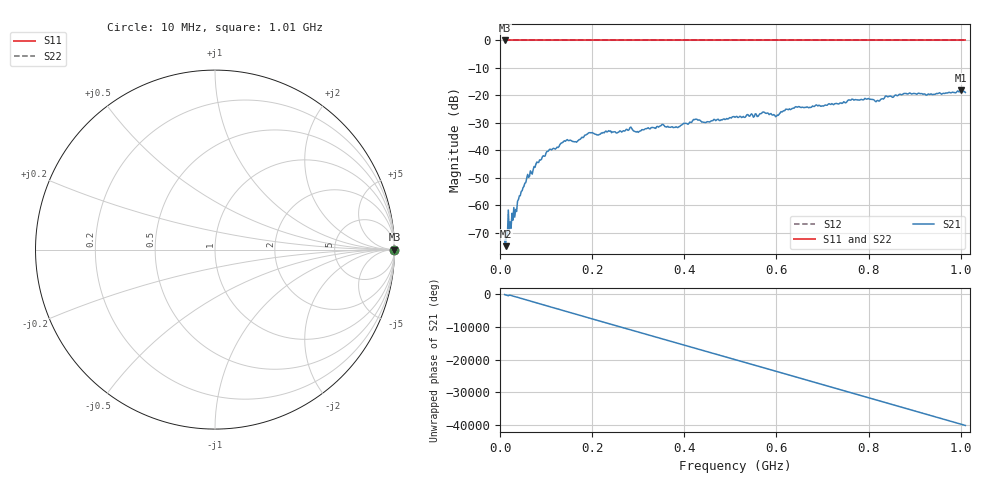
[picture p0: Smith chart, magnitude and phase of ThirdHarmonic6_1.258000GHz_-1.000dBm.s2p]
! 8/16/2025 1:30:37 PM
! C:\ANRITSUVNA\TEMP\TEMP.S2P
! CHANNEL.1
! TR.MEASUREMENT
! RAW.DATA
! RF.CORRECTION.OFF
! AVERAGING.OFF
! IF.BANDWIDTH: 5KHZ
! SWEEPTYPE:  FREQ.SWEEP(Linear)
! Reference Plane Port Info
! PORT:  PORT1  PORT2
! DISTANCE:  0  m  0  m
! TIME:  0  s  0  s
! PHASE.OFFSET:  0  deg.  0  deg.
! LOSS:  0  dB  0  dB
! REF.LOSS:  0  dB  0  dB
! REF.FREQ:  0  Hz  0  Hz
! Power Info
! POWER:  -20  dBm  -20  dBm
! EFF.POWER:  -20  dBm  -20  dBm
! SOURCE.ATTEN:  0  dB  0  dB
! TEST.ATTEN:  0  dB  0  dB
# GHZ S RI R 50.0
! FREQ.GHZ  S11RE  S11IM  S21RE  S21IM  S12RE  S12IM  S22RE  S22IM
!; PortSelection: Port_12
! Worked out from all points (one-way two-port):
!   501 points, 10 MHz to 1.01 GHz, reference 50 ohm
!   highest |S21| = -18.13 dB at 1 GHz (marker M1); lowest = -74.9 dB at 12 MHz (marker M2)
!   lowest |S11| = 0.0 dB at 10 MHz (marker M3)
!   |S11| at or under -10 dB: nowhere
!   |S22| runs from 0.0 to 0.0 dB; largest |S21 - S12| = 1.1
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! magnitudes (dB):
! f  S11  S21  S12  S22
! 10 MHz  0.0  -72.8  0.0  0.0
! 12 MHz  0.0  -74.9  0.0  0.0
! 22 MHz  0.0  -66.1  0.0  0.0
! 24 MHz  0.0  -68.4  0.0  0.0
! 56 MHz  0.0  -51.8  0.0  0.0
! 78 MHz  0.0  -45.0  0.0  0.0
! 104 MHz  0.0  -40.4  0.0  0.0
! 136 MHz  0.0  -37.1  0.0  0.0
! 178 MHz  0.0  -35.2  0.0  0.0
! 196 MHz  0.0  -33.6  0.0  0.0
! 284 MHz  0.0  -31.6  0.0  0.0
! 298 MHz  0.0  -33.2  0.0  0.0
! 344 MHz  0.0  -31.6  0.0  0.0
! 510 MHz  0.0  -28.0  0.0  0.0
! 572 MHz  0.0  -26.1  0.0  0.0
! 600 MHz  0.0  -27.6  0.0  0.0
! 644 MHz  0.0  -24.3  0.0  0.0
! 678 MHz  0.0  -23.9  0.0  0.0
! 820 MHz  0.0  -21.8  0.0  0.0
! 844 MHz  0.0  -20.4  0.0  0.0
! 1 GHz  0.0  -18.1  0.0  0.0
! 1.01 GHz  0.0  -18.9  0.0  0.0
